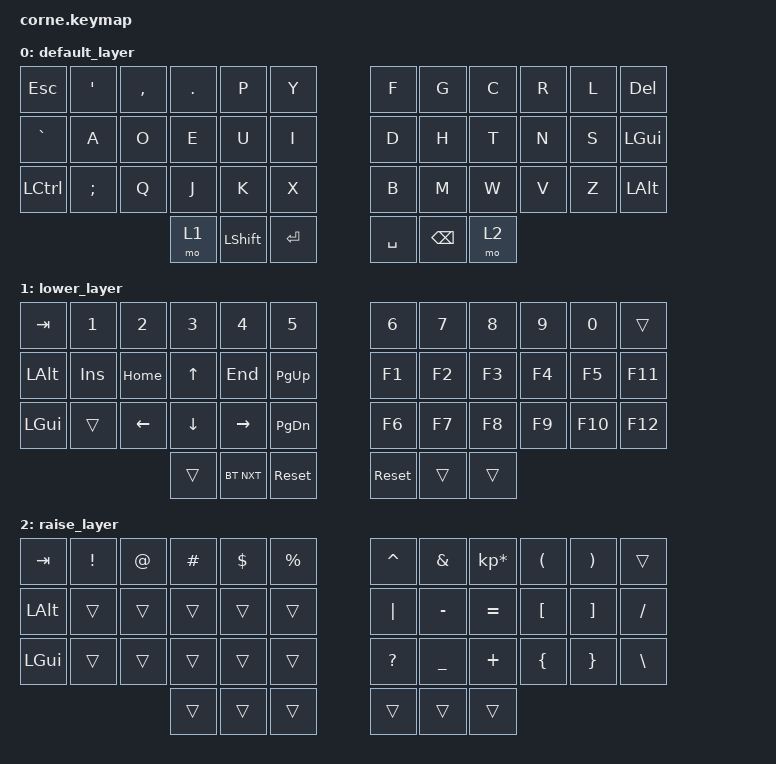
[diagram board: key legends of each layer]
/*
 * Copyright (c) 2020 The ZMK Contributors
 *
 * SPDX-License-Identifier: MIT
 */

#include <behaviors.dtsi>
#include <dt-bindings/zmk/keys.h>
#include <dt-bindings/zmk/bt.h>


/ {
        keymap {
                compatible = "zmk,keymap";

                default_layer {
// -----------------------------------------------------------------------------------------
// |   ESC   |  QUOT  |  COMMA  |   DOT   |     P   |  Y  |  |   F    |    G    |  C  |  R  |  L  | DEL   |
// |   GRV   |   A    |    O    |    E    |     U   |  I  |  |   D    |    H    |  T  |  N  |  S  | GUI   |
// |  LCTRL  |  SEMI  |    Q    |    J    |     K   |  X  |  |   B    |    M    |  W  |  V  |  Z  | LALT  |
//                              |   LWR   |   SHFT  | ENT |  |  BKSP  |   SPC   | RSE |
                        bindings = <
   &kp ESC   &kp SQT  &kp COMMA &kp DOT   &kp P     &kp Y    &kp F     &kp G    &kp C &kp R &kp L &kp DEL
   &kp GRAVE &kp A    &kp O     &kp E     &kp U     &kp I    &kp D     &kp H    &kp T &kp N &kp S &kp LGUI 
   &kp LCTRL &kp SEMI &kp Q     &kp J     &kp K     &kp X    &kp B     &kp M    &kp W &kp V &kp Z &kp LALT
                                &mo 1     &kp LSHFT &kp RET  &kp SPACE &kp BSPC &mo 2
                        >;
                };
                lower_layer {
// -----------------------------------------------------------------------------------------
// |   TAB  |   1   |    2   |    3   |     4    |   5   |  |  6   |  7   |  8   |  9   |   0   |     |
// |   ALT  |  INS  |  HOME  |   UP   |    END   | PGUP  |  |  F1  |  F2  |  F3  |  F4  |   F5  | F11 |
// |        |       |  LEFT  |  DOWN  |   RGHT   | PGDN  |  |  F6  |  F7  |  F8  |  F9  |  F10  | F12 |
//                           |        |          |       |  |      |      |      |
                        bindings = <
   &kp TAB  &kp N1  &kp N2   &kp N3   &kp N4     &kp N5     &kp N6 &kp N7 &kp N8 &kp N9 &kp N0  &trans
   &kp LALT &kp INS &kp HOME &kp UP   &kp END    &kp PG_UP  &kp F1 &kp F2 &kp F3 &kp F4 &kp F5  &kp F11
   &kp LGUI &trans  &kp LEFT &kp DOWN &kp RIGHT  &kp PG_DN  &kp F6 &kp F7 &kp F8 &kp F9 &kp F10 &kp F12
                             &trans   &bt BT_NXT &sys_reset &sys_reset &trans &trans
                        >;
                };
                raise_layer {
// -----------------------------------------------------------------------------------------
// |   TAB  |    !   |  @   |    #   |    $   |   %    |  |    ^   |    &     |      *        |    (   |    )   |     |
// |   ALT  |        |      |        |        |        |  |   "|"  |    -     |      =        |    [   |    ]   |  /  |
// |        |        |      |        |        |        |  |    ?   |    _     |      +        |    {   |    }   |  \  |
//                          |        |        |        |  |        |          |               |
                        bindings = <
   &kp TAB  &kp EXCL &kp AT &kp HASH &kp DLLR &kp PRCNT   &kp CARET &kp AMPS  &kp KP_MULTIPLY &kp LPAR &kp RPAR &trans
   &kp LALT &trans   &trans &trans   &trans   &trans      &kp PIPE  &kp MINUS &kp EQUAL       &kp LBKT &kp RBKT &kp FSLH
   &kp LGUI &trans   &trans &trans   &trans   &trans      &kp QMARK &kp UNDER &kp PLUS        &kp LBRC &kp RBRC &kp BSLH
                            &trans   &trans   &trans      &trans    &trans    &trans
                        >;
                };
        };
};
